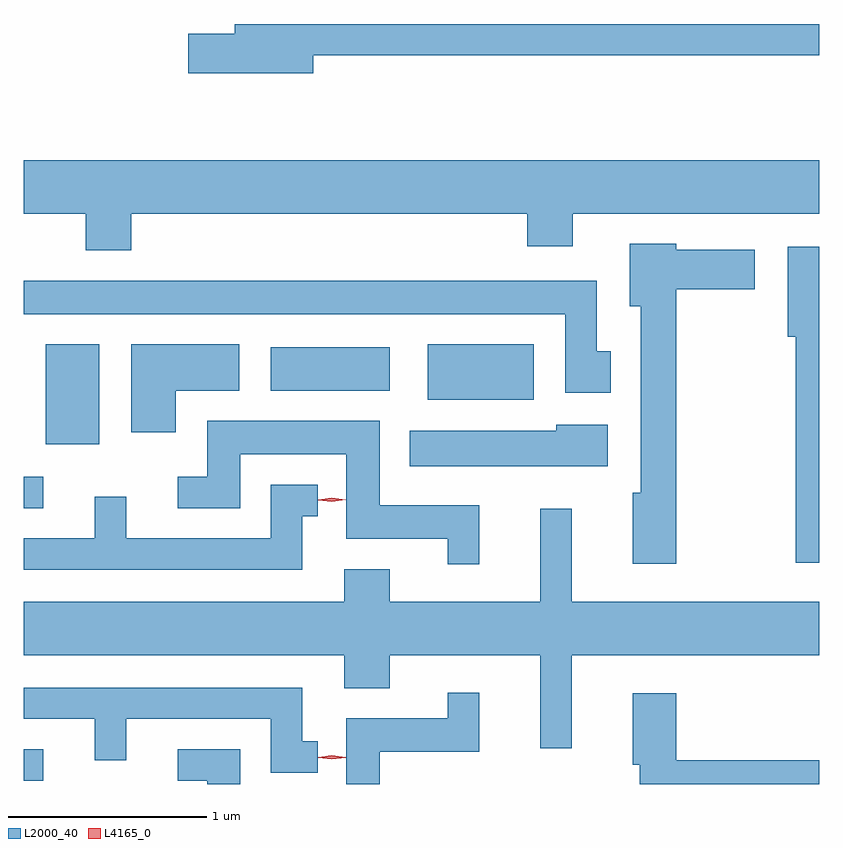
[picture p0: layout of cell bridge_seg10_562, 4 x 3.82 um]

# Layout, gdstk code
import gdstk
lib = gdstk.Library(unit=1e-6, precision=1e-09)
def R(c, l, rs):  # rectangles x0, y0, x1, y1
    for r in rs: c.add(gdstk.rectangle(r[:2], r[2:], *l))
def P(c, l, *ps):  # polygons
    for p in ps: c.add(gdstk.Polygon(p, *l))
L2000_40 = (2000, 40)
L4165_0 = (4165, 0)

bridge_seg10_562 = lib.new_cell('bridge_seg10_562')
R(bridge_seg10_562, L2000_40, [(646.599,2162.126,646.698,2162.284), (646.599,2163.496,646.698,2163.654), (646.711,2163.816,646.979,2164.319), (648.631,2164.041,649.164,2164.319), (647.841,2164.086,648.439,2164.304)])
P(bridge_seg10_562, L2000_40, [(648.054,2165.771),(650.599,2165.771),(650.599,2165.929),(647.661,2165.929),(647.661,2165.879),(647.426,2165.879),(647.426,2165.681),(648.054,2165.681)],
  [(646.599,2164.976),(646.911,2164.976),(646.911,2164.791),(647.139,2164.791),(647.139,2164.976),(649.131,2164.976),(649.131,2164.811),(649.359,2164.811),(649.359,2164.976),(650.599,2164.976),(650.599,2165.244),(646.599,2165.244)],
  [(649.879,2164.596),(650.274,2164.596),(650.274,2164.794),(649.879,2164.794),(649.879,2164.824),(649.646,2164.824),(649.646,2164.511),(649.701,2164.511),(649.701,2163.574),(649.661,2163.574),(649.661,2163.216),(649.879,2163.216)],
  [(650.599,2164.809),(650.441,2164.809),(650.441,2164.356),(650.481,2164.356),(650.481,2163.221),(650.599,2163.221)],
  [(649.549,2164.284),(649.479,2164.284),(649.479,2164.639),(646.599,2164.639),(646.599,2164.471),(649.321,2164.471),(649.321,2164.076),(649.549,2164.076)],
  [(647.364,2164.086),(647.684,2164.086),(647.684,2164.319),(647.141,2164.319),(647.141,2163.876),(647.364,2163.876)],
  [(648.889,2163.509),(648.389,2163.509),(648.389,2163.934),(647.521,2163.934),(647.521,2163.654),(647.373,2163.654),(647.373,2163.496),(647.689,2163.496),(647.689,2163.766),(648.221,2163.766),(648.221,2163.341),(648.731,2163.341),(648.731,2163.213),(648.889,2163.213)],
  [(649.534,2163.914),(649.276,2163.914),(649.276,2163.884),(648.541,2163.884),(648.541,2163.706),(649.534,2163.706)],
  [(647.999,2163.456),(648.078,2163.456),(648.078,2163.614),(647.841,2163.614),(647.841,2163.344),(647.114,2163.344),(647.114,2163.553),(646.956,2163.553),(646.956,2163.344),(646.599,2163.344),(646.599,2163.186),(647.999,2163.186)],
  [(649.354,2162.756),(650.599,2162.756),(650.599,2163.024),(649.354,2163.024),(649.354,2163.493),(649.196,2163.493),(649.196,2163.024),(648.439,2163.024),(648.439,2163.189),(648.211,2163.189),(648.211,2163.024),(646.599,2163.024),(646.599,2162.756),(648.211,2162.756),(648.211,2162.591),(648.439,2162.591),(648.439,2162.756),(649.196,2162.756),(649.196,2162.288),(649.354,2162.288)],
  [(648.078,2162.324),(647.999,2162.324),(647.999,2162.594),(646.599,2162.594),(646.599,2162.436),(646.956,2162.436),(646.956,2162.228),(647.114,2162.228),(647.114,2162.436),(647.841,2162.436),(647.841,2162.166),(648.078,2162.166)],
  [(648.389,2162.271),(648.889,2162.271),(648.889,2162.568),(648.731,2162.568),(648.731,2162.439),(648.221,2162.439),(648.221,2162.109),(648.389,2162.109)],
  [(650.599,2162.229),(649.879,2162.229),(649.879,2162.564),(649.661,2162.564),(649.661,2162.206),(649.696,2162.206),(649.696,2162.109),(650.599,2162.109)],
  [(647.689,2162.284),(647.373,2162.284),(647.373,2162.126),(647.521,2162.126),(647.521,2162.109),(647.689,2162.109)])
P(bridge_seg10_562, L4165_0, [(648.148,2163.527),(648.079,2163.536),(648.079,2163.537),(648.079,2163.537),(648.148,2163.547),(648.218,2163.538),(648.218,2163.537),(648.218,2163.537)],
  [(648.148,2162.233),(648.079,2162.242),(648.079,2162.243),(648.079,2162.244),(648.148,2162.253),(648.218,2162.243),(648.218,2162.242),(648.218,2162.242)])

lib.write_gds('bridge_seg10_562.gds')
